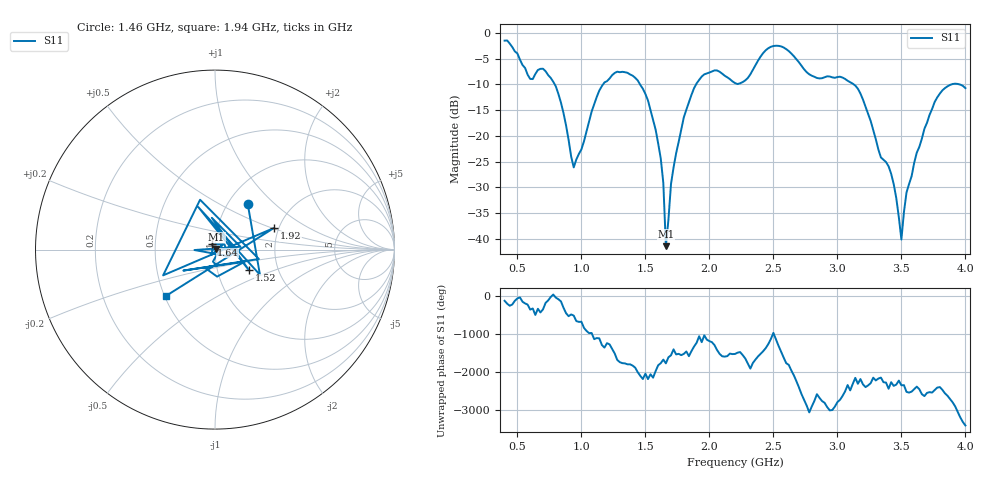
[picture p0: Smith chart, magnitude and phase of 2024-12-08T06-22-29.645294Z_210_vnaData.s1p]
!Created with skrf (http://scikit-rf.org).
# Hz S RI R 50.0
!freq ReS11 ImS11
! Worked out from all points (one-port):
!   181 points, 400 MHz to 4 GHz, reference 50 ohm
!   lowest |S11| = -41.4 dB at 1.66 GHz (marker M1), VSWR 1.02, Z = 50.8 + j0.356 ohm
!   |S11| at or under -10 dB: 791.2 MHz to 1.17 GHz (378.4 MHz wide, 38.6 % of centre); 1.458 GHz to 1.896 GHz (438.6 MHz wide, 26.2 % of centre); 3.127 GHz to 3.893 GHz (766.3 MHz wide, 21.8 % of centre) (the widest 3 of 4)
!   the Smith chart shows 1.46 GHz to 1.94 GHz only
!   S11 on the Smith chart (normalised r, x): 1.46 GHz: 1.23, +0.69; 1.52 GHz: 1.42, -0.34; 1.64 GHz: 0.96, +0.06; 1.92 GHz: 1.88, +0.52; 1.94 GHz: 0.51, -0.31
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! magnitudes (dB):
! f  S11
! 400 MHz  -1.5
! 600 MHz  -9.0
! 720 MHz  -7.5
! 860 MHz  -15.6
! 940 MHz  -26.1
! 1.14 GHz  -11.2
! 1.3 GHz  -7.6
! 1.46 GHz  -10.1
! 1.52 GHz  -13.1
! 1.58 GHz  -18.8
! 1.64 GHz  -29.2
! 1.66 GHz  -41.4
! 1.7 GHz  -29.4
! 1.76 GHz  -21.2
! 1.92 GHz  -9.1
! 1.94 GHz  -8.5
! 2.2 GHz  -9.8
! 2.48 GHz  -2.7
! 2.66 GHz  -4.5
! 2.8 GHz  -8.3
! 3.1 GHz  -9.6
! 3.18 GHz  -11.8
! 3.34 GHz  -24.2
! 3.42 GHz  -27.4
! 3.5 GHz  -40.1
! 3.56 GHz  -29.3
! 3.78 GHz  -12.5
! 4 GHz  -10.7
